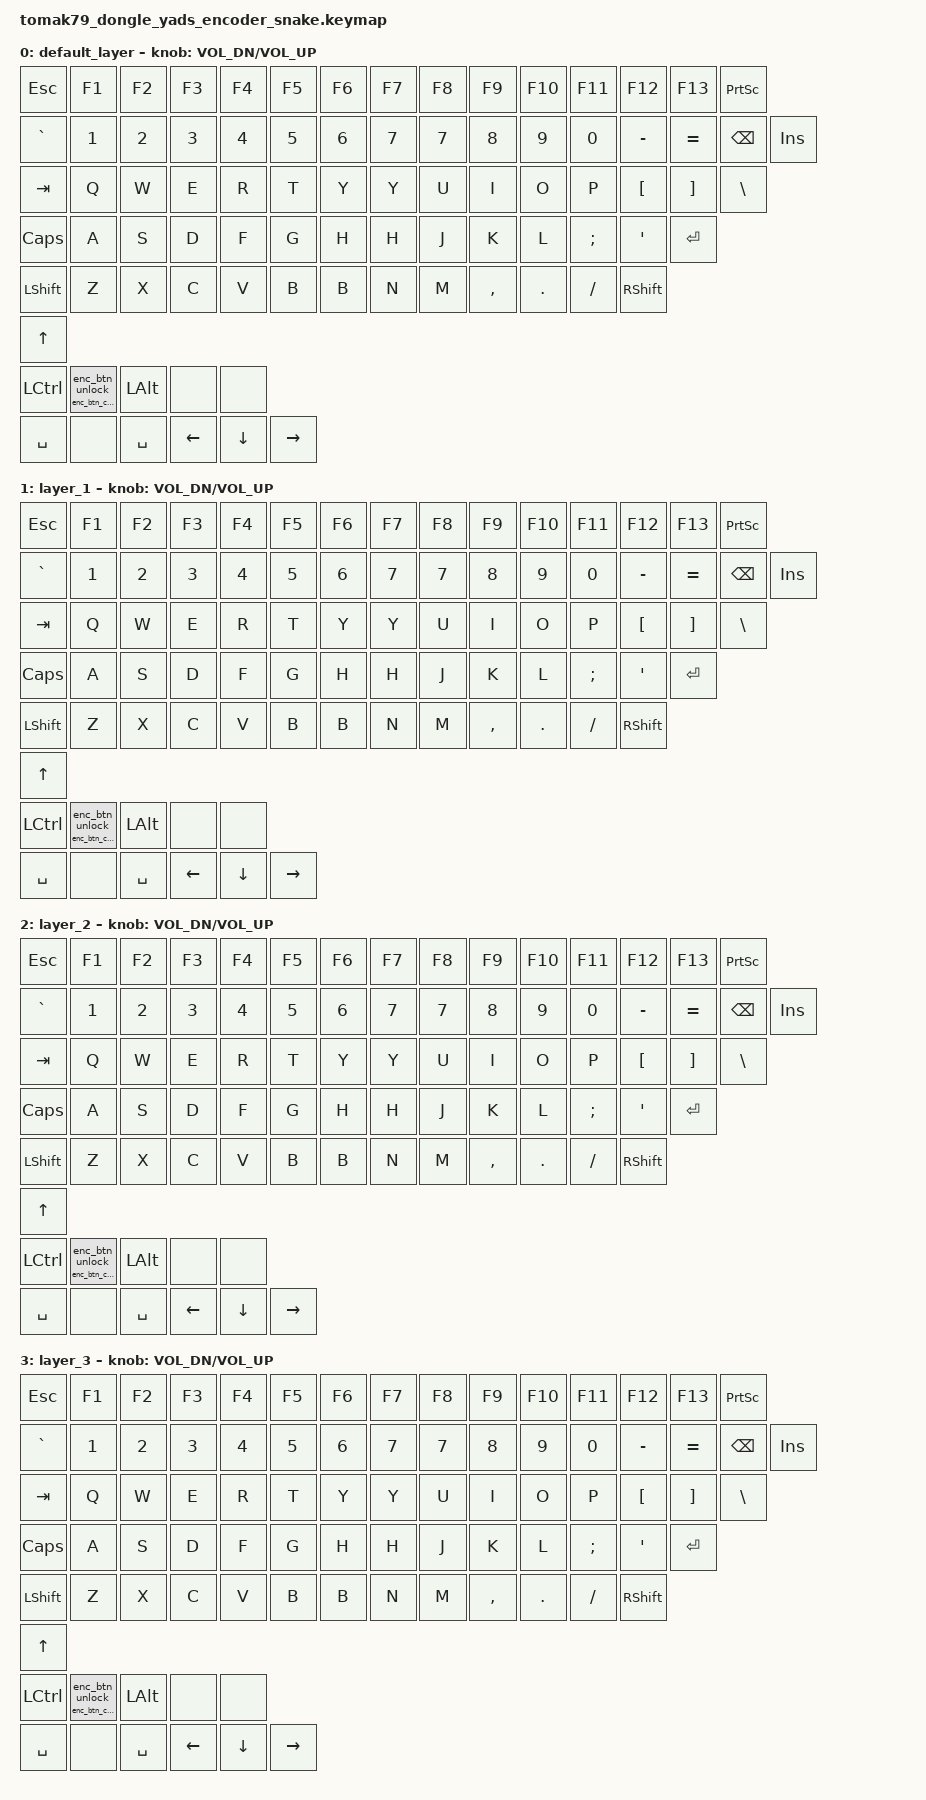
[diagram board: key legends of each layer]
#include <behaviors.dtsi>
#include <dt-bindings/zmk/keys.h>
#include <dt-bindings/zmk/bt.h>

/ {
    behaviors {
        enc_btn_clear: enc_btn_clear {
            compatible = "zmk,behavior-macro-one-param";
            #binding-cells = <1>;
            bindings = <&bt BT_CLR>;
        };

        enc_btn_unlock: enc_btn_unlock {
            compatible = "zmk,behavior-macro-one-param";
            #binding-cells = <1>;
            bindings = <&studio_unlock>;
        };

        enc_btn_btclr: enc_btn_btclr {
            compatible = "zmk,behavior-hold-tap";
            #binding-cells = <2>;
            flavor = "tap-preferred";
            tapping-term-ms = <400>;
            quick-tap-ms = <200>;
            bindings = <&enc_btn_clear>, <&enc_btn_unlock>;
        };
    };

    keymap {
        compatible = "zmk,keymap";

        default_layer {
           bindings = <
    // KLE row 0
    &kp ESC          &kp F1                    &kp F2           &kp F3           &kp F4           &kp F5           &kp F6           &kp F7           &kp F8           &kp F9           &kp F10          &kp F11          &kp F12          &kp F13          &kp PSCRN
    // KLE row 1
    &kp GRAVE        &kp N1                    &kp N2           &kp N3           &kp N4           &kp N5           &kp N6           &kp N7           &kp N7           &kp N8           &kp N9           &kp N0           &kp MINUS        &kp EQUAL        &kp BSPC         &kp INS
    // KLE row 2
    &kp TAB          &kp Q                     &kp W            &kp E            &kp R            &kp T            &kp Y            &kp Y            &kp U            &kp I            &kp O            &kp P            &kp LBKT         &kp RBKT         &kp BSLH
    // KLE row 3
    &kp CAPS         &kp A                     &kp S            &kp D            &kp F            &kp G            &kp H            &kp H            &kp J            &kp K            &kp L            &kp SEMI         &kp SQT          &kp RET
    // KLE row 4
    &kp LSHFT        &kp Z                     &kp X            &kp C            &kp V            &kp B            &kp B            &kp N            &kp M            &kp COMMA        &kp DOT          &kp FSLH         &kp RSHFT
    // KLE row 5
    &kp UP
    // KLE row 6
    &kp LCTRL        &enc_btn_btclr 0 0       &kp LALT         &none            &none
    // KLE row 7
    &kp SPC          &none                     &kp SPC          &kp LEFT         &kp DOWN         &kp RIGHT
>;
            sensor-bindings = <&inc_dec_kp C_VOL_DN C_VOL_UP>;
        };

        layer_1 {
           bindings = <
    // KLE row 0
    &kp ESC          &kp F1                    &kp F2           &kp F3           &kp F4           &kp F5           &kp F6           &kp F7           &kp F8           &kp F9           &kp F10          &kp F11          &kp F12          &kp F13          &kp PSCRN
    // KLE row 1
    &kp GRAVE        &kp N1                    &kp N2           &kp N3           &kp N4           &kp N5           &kp N6           &kp N7           &kp N7           &kp N8           &kp N9           &kp N0           &kp MINUS        &kp EQUAL        &kp BSPC         &kp INS
    // KLE row 2
    &kp TAB          &kp Q                     &kp W            &kp E            &kp R            &kp T            &kp Y            &kp Y            &kp U            &kp I            &kp O            &kp P            &kp LBKT         &kp RBKT         &kp BSLH
    // KLE row 3
    &kp CAPS         &kp A                     &kp S            &kp D            &kp F            &kp G            &kp H            &kp H            &kp J            &kp K            &kp L            &kp SEMI         &kp SQT          &kp RET
    // KLE row 4
    &kp LSHFT        &kp Z                     &kp X            &kp C            &kp V            &kp B            &kp B            &kp N            &kp M            &kp COMMA        &kp DOT          &kp FSLH         &kp RSHFT
    // KLE row 5
    &kp UP
    // KLE row 6
    &kp LCTRL        &enc_btn_btclr 0 0       &kp LALT         &none            &none
    // KLE row 7
    &kp SPC          &none                     &kp SPC          &kp LEFT         &kp DOWN         &kp RIGHT
>;
            sensor-bindings = <&inc_dec_kp C_VOL_DN C_VOL_UP>;
        };

        layer_2 {
           bindings = <
    // KLE row 0
    &kp ESC          &kp F1                    &kp F2           &kp F3           &kp F4           &kp F5           &kp F6           &kp F7           &kp F8           &kp F9           &kp F10          &kp F11          &kp F12          &kp F13          &kp PSCRN
    // KLE row 1
    &kp GRAVE        &kp N1                    &kp N2           &kp N3           &kp N4           &kp N5           &kp N6           &kp N7           &kp N7           &kp N8           &kp N9           &kp N0           &kp MINUS        &kp EQUAL        &kp BSPC         &kp INS
    // KLE row 2
    &kp TAB          &kp Q                     &kp W            &kp E            &kp R            &kp T            &kp Y            &kp Y            &kp U            &kp I            &kp O            &kp P            &kp LBKT         &kp RBKT         &kp BSLH
    // KLE row 3
    &kp CAPS         &kp A                     &kp S            &kp D            &kp F            &kp G            &kp H            &kp H            &kp J            &kp K            &kp L            &kp SEMI         &kp SQT          &kp RET
    // KLE row 4
    &kp LSHFT        &kp Z                     &kp X            &kp C            &kp V            &kp B            &kp B            &kp N            &kp M            &kp COMMA        &kp DOT          &kp FSLH         &kp RSHFT
    // KLE row 5
    &kp UP
    // KLE row 6
    &kp LCTRL        &enc_btn_btclr 0 0       &kp LALT         &none            &none
    // KLE row 7
    &kp SPC          &none                     &kp SPC          &kp LEFT         &kp DOWN         &kp RIGHT
>;
            sensor-bindings = <&inc_dec_kp C_VOL_DN C_VOL_UP>;
        };

        layer_3 {
           bindings = <
    // KLE row 0
    &kp ESC          &kp F1                    &kp F2           &kp F3           &kp F4           &kp F5           &kp F6           &kp F7           &kp F8           &kp F9           &kp F10          &kp F11          &kp F12          &kp F13          &kp PSCRN
    // KLE row 1
    &kp GRAVE        &kp N1                    &kp N2           &kp N3           &kp N4           &kp N5           &kp N6           &kp N7           &kp N7           &kp N8           &kp N9           &kp N0           &kp MINUS        &kp EQUAL        &kp BSPC         &kp INS
    // KLE row 2
    &kp TAB          &kp Q                     &kp W            &kp E            &kp R            &kp T            &kp Y            &kp Y            &kp U            &kp I            &kp O            &kp P            &kp LBKT         &kp RBKT         &kp BSLH
    // KLE row 3
    &kp CAPS         &kp A                     &kp S            &kp D            &kp F            &kp G            &kp H            &kp H            &kp J            &kp K            &kp L            &kp SEMI         &kp SQT          &kp RET
    // KLE row 4
    &kp LSHFT        &kp Z                     &kp X            &kp C            &kp V            &kp B            &kp B            &kp N            &kp M            &kp COMMA        &kp DOT          &kp FSLH         &kp RSHFT
    // KLE row 5
    &kp UP
    // KLE row 6
    &kp LCTRL        &enc_btn_btclr 0 0       &kp LALT         &none            &none
    // KLE row 7
    &kp SPC          &none                     &kp SPC          &kp LEFT         &kp DOWN         &kp RIGHT
>;
            sensor-bindings = <&inc_dec_kp C_VOL_DN C_VOL_UP>;
        };
    };
};
